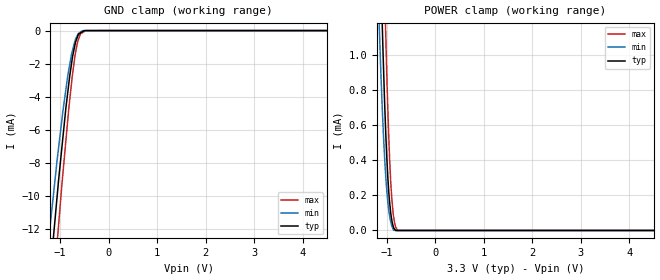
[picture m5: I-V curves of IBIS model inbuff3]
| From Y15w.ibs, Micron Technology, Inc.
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|   inbuff3 MODEL
[Model]   inbuff3
Model_type   Input
| Used for DQM, CKE, and CS
Vinl = 800.000mV
Vinh = 2.000V
|   typ   min   max
C_comp   2.140pF   2.040pF   2.240pF
[Voltage Range]   3.300V   3.000V   3.600V
[Temperature Range]   25.0   85.0   0.0
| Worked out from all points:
|   GND clamp passes 1 mA (typ) near -0.70 V on its own axis
|   POWER clamp passes 1 mA (typ) near -1.08 V on its own axis
[GND Clamp]
|   Voltage   I(typ)   I(min)   I(max)
-3.3V     -808.9mA   -845mA     -797.4mA
-1.22V    -15.26mA   NA         NA
-1.03V    -9.084mA   NA         NA
-880mV    -4.727mA   NA         NA
-800mV    -2.761mA   NA         NA
-740mV    -1.561mA   NA         NA
-680mV    -700.6uA   -513.5uA   NA
-620mV    -222.9uA   -171.3uA   NA
-500mV    0A         NA         NA
6.6V      0A         0A         0A
[POWER Clamp]
|   Voltage   I(typ)   I(min)   I(max)
-3.3V     44.18mA    37.5mA     49.72mA
-1.16V    1.897mA    1.189mA    2.998mA
-1.1V     1.222mA    728.7uA    2.095mA
-1.08V    1.025mA    600uA      1.818mA
-1.04V    679.6uA    383.1uA    1.31mA
-1.02V    534.4uA    295.5uA    1.082mA
-980mV    302.6uA    161.3uA    688.2uA
-950mV    181uA      NA         NA
-920mV    96.95uA    NA         275.6uA
-860mV    14.9uA     1.139uA    NA
-820mV    0A         NA         19.84uA
6.6V      0A         0A         0A
